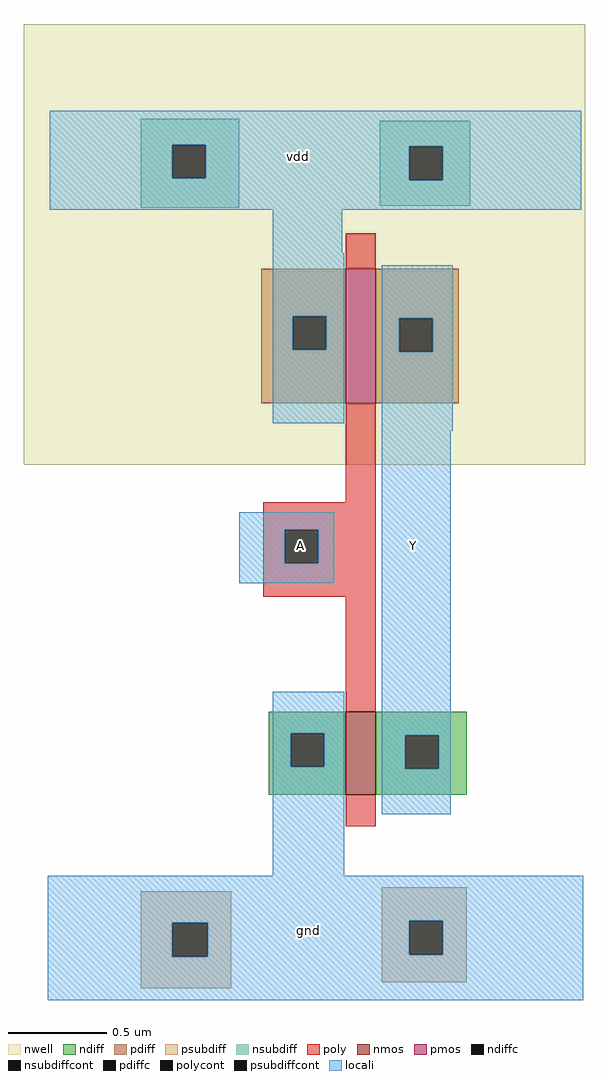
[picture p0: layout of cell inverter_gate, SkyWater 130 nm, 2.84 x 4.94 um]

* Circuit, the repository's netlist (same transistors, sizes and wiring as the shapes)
* NGSPICE file created from inverter_gate.ext - technology: sky130A


* Top level circuit inverter_gate

X0 Y A vdd vdd sky130_fd_pr__pfet_01v8 ad=2.856e+11p pd=2.2e+06u as=2.924e+11p ps=2.22e+06u w=680000u l=150000u
X1 Y A gnd gnd sky130_fd_pr__nfet_01v8 ad=1.932e+11p pd=1.76e+06u as=1.638e+11p ps=1.62e+06u w=420000u l=150000u
.end

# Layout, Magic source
magic
tech sky130A
<< nwell >>
rect -163 -17 121 206
<< nmos >>
rect 0 -184 15 -142
<< pmos >>
rect 0 14 15 82
<< ndiff >>
rect -39 -153 0 -142
rect -39 -170 -28 -153
rect -11 -170 0 -153
rect -39 -184 0 -170
rect 15 -154 61 -142
rect 15 -171 30 -154
rect 47 -171 61 -154
rect 15 -184 61 -171
<< pdiff >>
rect -43 58 0 82
rect -43 41 -27 58
rect -10 41 0 58
rect -43 14 0 41
rect 15 57 57 82
rect 15 40 27 57
rect 44 40 57 57
rect 15 14 57 40
<< ndiffc >>
rect -28 -170 -11 -153
rect 30 -171 47 -154
<< pdiffc >>
rect -27 41 -10 58
rect 27 40 44 57
<< psubdiff >>
rect -104 -249 -58 -233
rect -104 -266 -88 -249
rect -70 -266 -58 -249
rect -104 -282 -58 -266
rect 18 -248 61 -231
rect 18 -265 32 -248
rect 49 -265 61 -248
rect 18 -279 61 -265
<< nsubdiff >>
rect -104 145 -54 158
rect -104 128 -88 145
rect -71 128 -54 145
rect -104 113 -54 128
rect 17 144 63 157
rect 17 127 32 144
rect 49 127 63 144
rect 17 114 63 127
<< psubdiffcont >>
rect -88 -266 -70 -249
rect 32 -265 49 -248
<< nsubdiffcont >>
rect -88 128 -71 145
rect 32 127 49 144
<< poly >>
rect 0 82 15 100
rect 0 -36 15 14
rect -42 -50 15 -36
rect -42 -67 -31 -50
rect -14 -67 15 -50
rect -42 -84 15 -67
rect 0 -142 15 -84
rect 0 -200 15 -184
<< polycont >>
rect -31 -67 -14 -50
<< locali >>
rect -150 145 119 162
rect -150 128 -88 145
rect -71 144 119 145
rect -71 128 32 144
rect -150 127 32 128
rect 49 127 119 144
rect -150 112 119 127
rect -37 90 -2 112
rect -37 58 -1 90
rect -37 41 -27 58
rect -10 41 -1 58
rect -37 4 -1 41
rect 18 57 54 84
rect 18 40 27 57
rect 44 40 54 57
rect 18 0 54 40
rect -54 -50 -6 -41
rect -54 -67 -31 -50
rect -14 -67 -6 -50
rect -54 -77 -6 -67
rect -37 -153 -1 -132
rect -37 -170 -28 -153
rect -11 -170 -1 -153
rect -37 -225 -1 -170
rect 18 -154 53 0
rect 18 -171 30 -154
rect 47 -171 53 -154
rect 18 -194 53 -171
rect -151 -248 120 -225
rect -151 -249 32 -248
rect -151 -266 -88 -249
rect -70 -265 32 -249
rect 49 -265 120 -248
rect -70 -266 120 -265
rect -151 -288 120 -266
<< labels >>
rlabel polycont -23 -58 -23 -58 1 A
rlabel locali 34 -58 34 -58 1 Y
rlabel locali -19 -253 -19 -253 1 gnd
rlabel locali -24 139 -24 139 1 vdd
<< end >>
